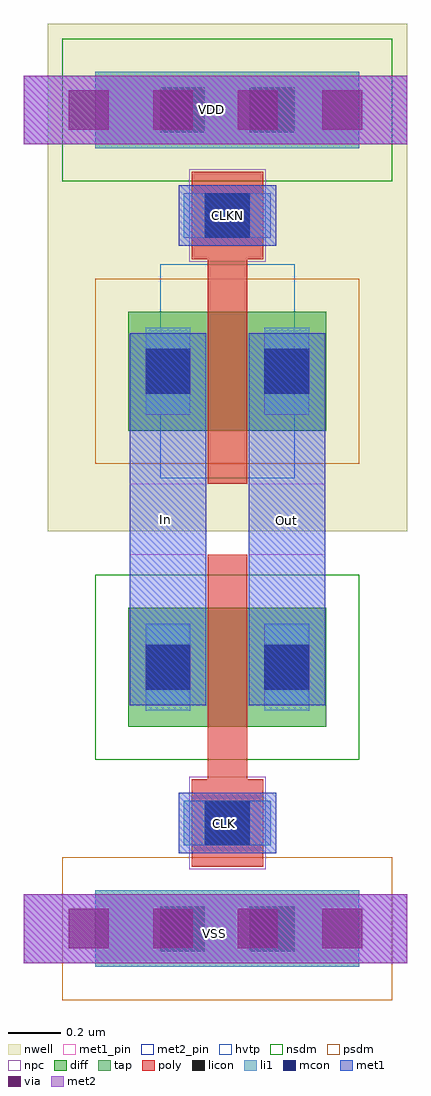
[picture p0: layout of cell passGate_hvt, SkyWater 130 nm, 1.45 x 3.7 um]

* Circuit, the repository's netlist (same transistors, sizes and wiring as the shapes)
* Extracted by KLayout with SKY130 LVS runset on : 03/11/2024 02:36

.SUBCKT passGate_hvt CLK In Out CLKN VDD sky130_gnd
M$1 In CLKN Out VDD sky130_fd_pr__pfet_01v8_hvt L=0.15 W=0.45 AS=0.135 AD=0.135
+ PS=1.5 PD=1.5
M$2 In CLK Out sky130_gnd sky130_fd_pr__nfet_01v8 L=0.15 W=0.45 AS=0.135
+ AD=0.135 PS=1.5 PD=1.5
.ENDS passGate_hvt

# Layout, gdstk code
import gdstk
lib = gdstk.Library(unit=1e-6, precision=1e-09)
def R(c, l, rs):  # rectangles x0, y0, x1, y1
    for r in rs: c.add(gdstk.rectangle(r[:2], r[2:], *l))
def A(c, l, x, y, w, h, nx, ny, dx, dy):  # array of equal rectangles
    R(c, l, [(x+i*dx, y+j*dy, x+i*dx+w, y+j*dy+h) for i in range(nx) for j in range(ny)])
nwell = (64, 20)
diff = (65, 20)
tap = (65, 44)
poly = (66, 20)
licon = (66, 44)
li1 = (67, 20)
mcon = (67, 44)
met1_pin = (68, 16)
met1 = (68, 20)
via = (68, 44)
met2_pin = (69, 16)
met2 = (69, 20)
hvtp = (78, 44)
nsdm = (93, 44)
psdm = (94, 20)
npc = (95, 20)

nfet = lib.new_cell('nfet')
R(nfet, diff, [(0,0,0.75,0.45)])
R(nfet, poly, [(0.24,-0.53,0.51,-0.2), (0.3,-0.2,0.45,0.65)])
R(nfet, licon, [(0.29,-0.45,0.46,-0.28), (0.065,0.14,0.235,0.31), (0.515,0.14,0.685,0.31)])
R(nfet, li1, [(0.21,-0.45,0.54,-0.28), (0.065,0.06,0.235,0.39), (0.515,0.06,0.685,0.39)])
R(nfet, mcon, [(0.29,-0.45,0.46,-0.28), (0.065,0.14,0.235,0.31), (0.515,0.14,0.685,0.31)])
R(nfet, met1, [(0.19,-0.48,0.56,-0.25), (0.005,0.08,0.295,0.37), (0.455,0.08,0.745,0.37)])
R(nfet, nsdm, [(-0.125,-0.125,0.875,0.575)])
R(nfet, npc, [(0.23,-0.54,0.52,-0.19)])

pfet = lib.new_cell('pfet')
R(pfet, nwell, [(-0.305,-0.38,1.055,1.17)])
R(pfet, diff, [(0,0,0.75,0.45)])
R(pfet, poly, [(0.3,-0.2,0.45,0.65), (0.24,0.65,0.51,0.98)])
R(pfet, licon, [(0.065,0.14,0.235,0.31), (0.515,0.14,0.685,0.31), (0.29,0.73,0.46,0.9)])
R(pfet, li1, [(0.065,0.06,0.235,0.39), (0.515,0.06,0.685,0.39), (0.21,0.73,0.54,0.9)])
R(pfet, mcon, [(0.065,0.14,0.235,0.31), (0.515,0.14,0.685,0.31), (0.29,0.73,0.46,0.9)])
R(pfet, met1, [(0.005,0.08,0.295,0.37), (0.455,0.08,0.745,0.37), (0.19,0.7,0.56,0.93)])
R(pfet, hvtp, [(0.12,-0.18,0.63,0.63)])
R(pfet, psdm, [(-0.125,-0.125,0.875,0.575)])
R(pfet, npc, [(0.23,0.64,0.52,0.99)])

vias_gen = lib.new_cell('vias_gen')
R(vias_gen, met1, [(0,0,1.45,0.26)])
A(vias_gen, via, 0.17, 0.055, 0.15, 0.15, 4, 1, 0.32, 0)
R(vias_gen, met2, [(0,0,1.45,0.26)])

vias_gen_1 = lib.new_cell('vias_gen$1')
R(vias_gen_1, nwell, [(-0.18,-0.18,1.18,0.47)])
R(vias_gen_1, tap, [(0,0,1,0.29)])
R(vias_gen_1, licon, [(0.245,0.06,0.415,0.23), (0.585,0.06,0.755,0.23)])
R(vias_gen_1, li1, [(0,0,1,0.29)])
R(vias_gen_1, nsdm, [(-0.125,-0.125,1.125,0.415)])

vias_gen_2 = lib.new_cell('vias_gen$2')
R(vias_gen_2, tap, [(0,0,1,0.29)])
R(vias_gen_2, licon, [(0.245,0.06,0.415,0.23), (0.585,0.06,0.755,0.23)])
R(vias_gen_2, li1, [(0,0,1,0.29)])
R(vias_gen_2, psdm, [(-0.125,-0.125,1.125,0.415)])

passgate_hvt = lib.new_cell('passGate_hvt')
R(passgate_hvt, met1_pin, [(0.33,-0.165,0.7,0.065), (0.145,0.965,0.435,1.235), (0.595,0.965,0.885,1.235), (0.33,2.135,0.7,2.365)])
R(passgate_hvt, met1, [(-0.255,-0.55,0.9,-0.32), (0.9,-0.55,1.195,-0.32), (0.145,0.395,0.435,1.805), (0.595,0.395,0.885,1.805), (-0.255,2.52,0.9,2.75), (0.9,2.52,1.195,2.75)])
R(passgate_hvt, met2_pin, [(-0.255,-0.58,1.195,-0.32), (-0.255,2.52,1.195,2.78)])
passgate_hvt.add(gdstk.Reference(nfet, (0.14,0.315)))
passgate_hvt.add(gdstk.Reference(pfet, (0.14,1.435)))
passgate_hvt.add(gdstk.Reference(vias_gen, (-0.255,-0.58)))
passgate_hvt.add(gdstk.Reference(vias_gen, (-0.255,2.52)))
passgate_hvt.add(gdstk.Reference(vias_gen_1, (0.015,2.505)))
passgate_hvt.add(gdstk.Reference(vias_gen_2, (0.015,-0.595)))
passgate_hvt.add(gdstk.Label('VSS', (0.465,-0.47), layer=69, texttype=5))
passgate_hvt.add(gdstk.Label('VDD', (0.455,2.65), layer=69, texttype=5))
passgate_hvt.add(gdstk.Label('In', (0.28,1.1), layer=68, texttype=5))
passgate_hvt.add(gdstk.Label('Out', (0.74,1.095), layer=68, texttype=5))
passgate_hvt.add(gdstk.Label('CLK', (0.505,-0.05), layer=68, texttype=5))
passgate_hvt.add(gdstk.Label('CLKN', (0.515,2.25), layer=68, texttype=5))

lib.write_gds('passGate_hvt.gds')
